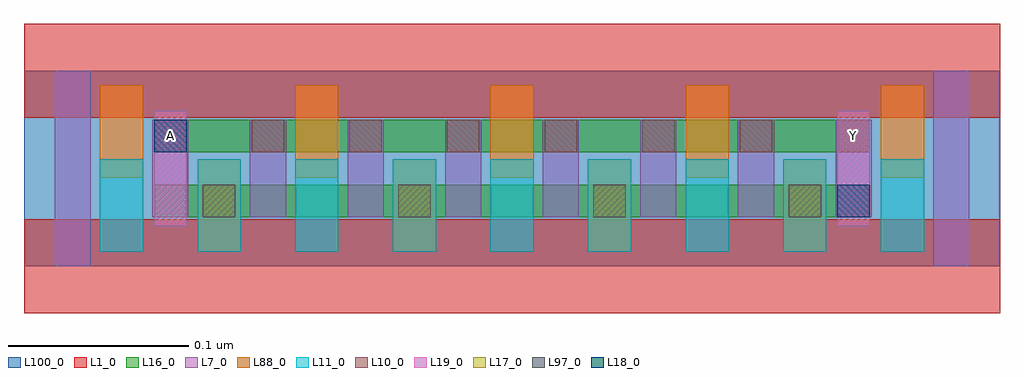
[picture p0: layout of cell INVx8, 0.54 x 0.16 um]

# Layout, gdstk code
import gdstk
lib = gdstk.Library(unit=1e-6, precision=2.5e-10)
def R(c, l, rs):  # rectangles x0, y0, x1, y1
    for r in rs: c.add(gdstk.rectangle(r[:2], r[2:], *l))
def A(c, l, x, y, w, h, nx, ny, dx, dy):  # array of equal rectangles
    R(c, l, [(x+i*dx, y+j*dy, x+i*dx+w, y+j*dy+h) for i in range(nx) for j in range(ny)])
L1_0 = (1, 0)
L7_0 = (7, 0)
L10_0 = (10, 0)
L11_0 = (11, 0)
L16_0 = (16, 0)
L17_0 = (17, 0)
L18_0 = (18, 0)
L19_0 = (19, 0)
L88_0 = (88, 0)
L97_0 = (97, 0)
L100_0 = (100, 0)

invx8 = lib.new_cell('INVx8')
R(invx8, L1_0, [(0,-0.026,0.54,0.026), (0,0.082,0.54,0.134)])
A(invx8, L7_0, 0.071, 0.027, 0.02, 0.054, 8, 1, 0.054, 0)
R(invx8, L7_0, [(0.017,0,0.037,0.108), (0.503,0,0.523,0.108)])
A(invx8, L10_0, 0.072, 0.063, 0.018, 0.018, 8, 1, 0.054, 0)
A(invx8, L11_0, 0.042, 0.008, 0.024, 0.051, 9, 1, 0.054, 0)
R(invx8, L16_0, [(0.072,0.027,0.468,0.045), (0.072,0.063,0.468,0.081)])
A(invx8, L17_0, 0.099, 0.027, 0.018, 0.018, 4, 1, 0.108, 0)
R(invx8, L18_0, [(0.45,0.027,0.468,0.045), (0.072,0.063,0.09,0.081)])
R(invx8, L19_0, [(0.072,0.022,0.09,0.086), (0.45,0.022,0.468,0.086)])
A(invx8, L88_0, 0.096, 0.008, 0.024, 0.051, 4, 1, 0.108, 0)
A(invx8, L88_0, 0.042, 0.049, 0.024, 0.051, 5, 1, 0.108, 0)
A(invx8, L97_0, 0.099, 0.027, 0.018, 0.018, 4, 1, 0.108, 0)
R(invx8, L100_0, [(0,0,0.54,0.108)])
invx8.add(gdstk.Label('A', (0.081,0.072), layer=19, texttype=251))
invx8.add(gdstk.Label('Y', (0.459,0.072), layer=19, texttype=251))

lib.write_gds('INVx8.gds')
